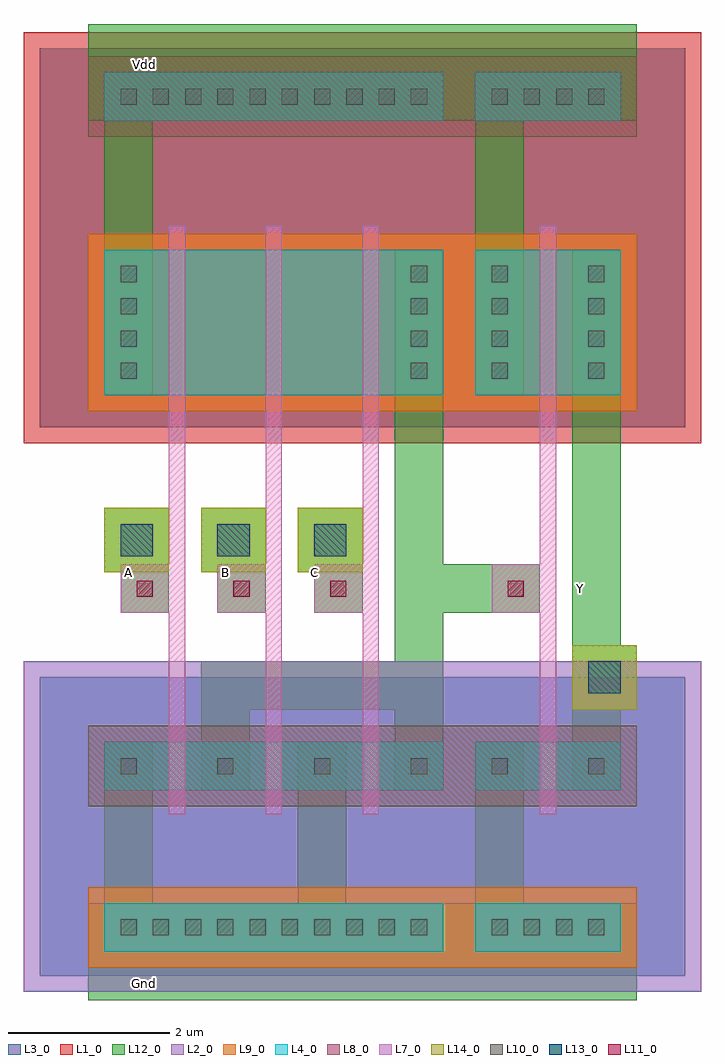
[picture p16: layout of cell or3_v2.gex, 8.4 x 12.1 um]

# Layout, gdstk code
import gdstk
lib = gdstk.Library(unit=1e-6, precision=1e-09)
def R(c, l, rs):  # rectangles x0, y0, x1, y1
    for r in rs: c.add(gdstk.rectangle(r[:2], r[2:], *l))
def A(c, l, x, y, w, h, nx, ny, dx, dy):  # array of equal rectangles
    R(c, l, [(x+i*dx, y+j*dy, x+i*dx+w, y+j*dy+h) for i in range(nx) for j in range(ny)])
L1_0 = (1, 0)
L2_0 = (2, 0)
L3_0 = (3, 0)
L4_0 = (4, 0)
L7_0 = (7, 0)
L8_0 = (8, 0)
L9_0 = (9, 0)
L10_0 = (10, 0)
L11_0 = (11, 0)
L12_0 = (12, 0)
L13_0 = (13, 0)
L14_0 = (14, 0)

or3_v2_gex = lib.new_cell('or3_v2.gex')
R(or3_v2_gex, L1_0, [(-0.8,6.9,4.9,12), (4.3,6.9,7.6,12)])
R(or3_v2_gex, L2_0, [(-0.8,0.1,4.9,4.2), (4.3,0.1,7.6,4.2)])
R(or3_v2_gex, L3_0, [(-0.6,0.3,4.7,4), (4.5,0.3,7.4,4), (-0.6,7.1,4.7,11.8), (4.5,7.1,7.4,11.8)])
R(or3_v2_gex, L4_0, [(0.2,0.6,4.4,1.2), (4.8,0.6,6.6,1.2), (0.2,2.6,4.4,3.2), (4.8,2.6,6.6,3.2), (0.2,7.5,4.4,9.3), (4.8,7.5,6.6,9.3), (0.2,10.9,4.4,11.5), (4.8,10.9,6.6,11.5)])
A(or3_v2_gex, L7_0, 1, 2.3, 0.2, 7.3, 3, 1, 1.2, 0)
A(or3_v2_gex, L7_0, 0.4, 4.8, 0.6, 0.6, 3, 1, 1.2, 0)
R(or3_v2_gex, L7_0, [(5.6,2.3,5.8,9.6), (5,4.8,5.6,5.4)])
R(or3_v2_gex, L8_0, [(0,2.4,4.6,3.4), (4.6,2.4,6.8,3.4), (0,10.7,4.6,11.7), (4.6,10.7,6.8,11.7)])
R(or3_v2_gex, L9_0, [(0,0.4,4.6,1.4), (4.6,0.4,6.8,1.4), (0,7.3,4.6,9.5), (4.6,7.3,6.8,9.5)])
A(or3_v2_gex, L10_0, 0.4, 0.8, 0.2, 0.2, 10, 2, 0.4, 10.3)
A(or3_v2_gex, L10_0, 5, 0.8, 0.2, 0.2, 4, 2, 0.4, 10.3)
A(or3_v2_gex, L10_0, 0.4, 2.8, 0.2, 0.2, 4, 1, 1.2, 0)
A(or3_v2_gex, L10_0, 0.4, 7.7, 0.2, 0.2, 1, 4, 0, 0.4)
A(or3_v2_gex, L10_0, 4, 7.7, 0.2, 0.2, 1, 4, 0, 0.4)
A(or3_v2_gex, L10_0, 5, 7.7, 0.2, 0.2, 1, 4, 0, 0.4)
A(or3_v2_gex, L10_0, 6.2, 7.7, 0.2, 0.2, 1, 4, 0, 0.4)
R(or3_v2_gex, L10_0, [(5,2.8,5.2,3), (6.2,2.8,6.4,3)])
A(or3_v2_gex, L11_0, 0.6, 5, 0.2, 0.2, 3, 1, 1.2, 0)
R(or3_v2_gex, L11_0, [(5.2,5,5.4,5.2)])
A(or3_v2_gex, L12_0, 0.4, 4.8, 0.6, 0.6, 3, 1, 1.2, 0)
A(or3_v2_gex, L12_0, 0.2, 5.3, 0.8, 0.8, 3, 1, 1.2, 0)
R(or3_v2_gex, L12_0, [(0,0,4.6,1.2), (4.6,0,6.8,1.2), (0.2,1.2,0.8,3.2), (2.6,1.2,3.2,3.2), (4.8,1.2,5.4,3.2), (1.4,2.6,2,3.6), (3.8,2.6,4.4,3.6), (6,2.6,6.6,9.3), (1.4,3.6,3.8,4.2), (3.8,3.6,4.4,9.3), (6,3.6,6.8,4.4), (4.4,4.8,5,5.4), (5,4.8,5.6,5.4), (0.2,7.5,0.8,10.9), (4.8,7.5,5.4,10.9), (0,10.9,4.6,12.1), (4.6,10.9,6.8,12.1)])
A(or3_v2_gex, L13_0, 0.4, 5.5, 0.4, 0.4, 3, 1, 1.2, 0)
R(or3_v2_gex, L13_0, [(6.2,3.8,6.6,4.2)])
A(or3_v2_gex, L14_0, 0.2, 5.3, 0.8, 0.8, 3, 1, 1.2, 0)
R(or3_v2_gex, L14_0, [(6,3.6,6.8,4.4)])
or3_v2_gex.add(gdstk.Label('Vdd', (0.7,11.6), layer=12, texttype=0))
or3_v2_gex.add(gdstk.Label('C', (2.8,5.3), layer=12, texttype=0))
or3_v2_gex.add(gdstk.Label('B', (1.7,5.3), layer=12, texttype=0))
or3_v2_gex.add(gdstk.Label('Gnd', (0.7,0.2), layer=12, texttype=0))
or3_v2_gex.add(gdstk.Label('A', (0.5,5.3), layer=12, texttype=0))
or3_v2_gex.add(gdstk.Label('Y', (6.1,5.1), layer=12, texttype=0))

lib.write_gds('or3_v2.gex.gds')
